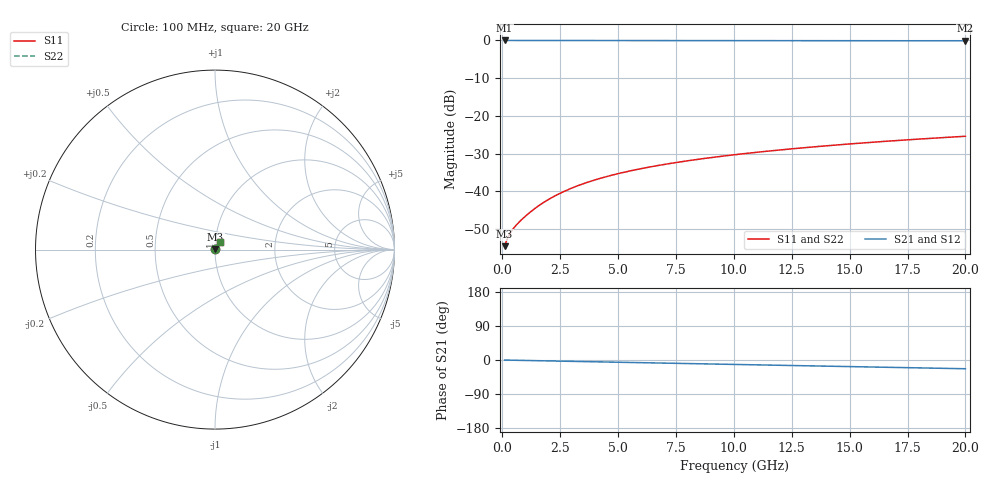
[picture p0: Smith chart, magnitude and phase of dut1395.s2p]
! Touchstone file exported from HFSS 2026.1.0
!  File:  C:/ffzhzh/LocalFiles/Ansys_Project_Files/temp_train_TMRDL_1395_1783166267_18472.aedt
!  Generated:  07:58:51 PM Jul  4, 2026
!  Design:  TMRDL
!  Project:  temp_train_TMRDL_1395_1783166267_18472
! Variables:
!  h_bsmrdl = 2um
!  h_ox = 20um
!  h_rdl = 5um
!  h_sub = 80um
!  h_tmrdl = 4.23um
!  h_tsv = 80um
!  h_via = 3um
!  l_bsmrdl = 300um
!  l_sub = 800.79um
!  l_tmrdl = 400.79um
!  m_sub = 200um
!  pitch = 28.38um
!  r_tsv = 6um
!  s_tmrdl = 10um
!  w_bsmrdl = 18um
!  w_sub = 500um
!  w_tmrdl = 22.05um
!  x_tsv_center1 = 411.815um
!  x_tsv_center2 = 729.815um
!  x_tsv_center3 = 1152.655um
!  x_tsv_center4 = 1470.655um
!  x_tsv_center5 = 1893.495um
!  x_tsv_center6 = 2211.495um
# GHz S MA R 50.000000
! Terminal data exported
! Port[1] = TM_RDL1_1_T1
! Port[2] = TM_RDL1_1_T2
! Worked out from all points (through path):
!   200 points, 100 MHz to 20 GHz, reference 50 ohm
!   highest |S21| = -0.02 dB at 100 MHz (marker M1); lowest = -0.1 dB at 20 GHz (marker M2)
!   group delay of S21, straight-line fit = 3.19 ps
!   lowest |S11| = -54.6 dB at 100 MHz (marker M3), VSWR 1.00, Z = 50.2 + j0.0642 ohm
!   |S11| at or under -10 dB: start of sweep to end of sweep
!   |S22| runs from -54.6 to -25.4 dB; largest |S21 - S12| = 4.2e-15
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0.1  0.001868 20.0  0.9982 -0.1  0.9982 -0.1  0.001868 20.0
! Gamma 0 0 0 0
! Port Impedance 50 0 50 0
0.2  0.002272 30.4  0.998 -0.3  0.998 -0.3  0.002272 30.4
0.3  0.002652 35.6  0.9979 -0.4  0.9979 -0.4  0.002652 35.6
0.4  0.002977 39.1  0.9977 -0.5  0.9977 -0.5  0.002976 39.1
0.5  0.003267 42.1  0.9976 -0.6  0.9976 -0.6  0.003267 42.1
0.7  0.003819 47.5  0.9974 -0.9  0.9974 -0.9  0.003819 47.5
0.9  0.00438 51.9  0.9973 -1.1  0.9973 -1.1  0.00438 51.9
1.3  0.005571 58.3  0.9972 -1.6  0.9972 -1.6  0.005571 58.3
1.8  0.007147 63.0  0.997 -2.2  0.997 -2.2  0.007147 63.0
2.3  0.008757 65.5  0.9967 -2.8  0.9967 -2.8  0.008758 65.5
2.9  0.01068 67.0  0.9964 -3.5  0.9964 -3.5  0.01068 67.0
3.5  0.01258 67.7  0.996 -4.2  0.996 -4.2  0.01258 67.7
4.2  0.01473 67.8  0.9955 -5.0  0.9955 -5.0  0.01473 67.8
5  0.0171 67.5  0.995 -5.9  0.995 -5.9  0.0171 67.5
5.9  0.01967 67.0  0.9944 -7.0  0.9944 -7.0  0.01967 67.0
6.8  0.02214 66.4  0.9938 -8.0  0.9938 -8.0  0.02214 66.4
8.3  0.0261 65.3  0.9929 -9.8  0.9929 -9.8  0.0261 65.3
10.1  0.03065 63.8  0.9919 -11.8  0.9919 -11.8  0.03065 63.8
11.7  0.03457 62.5  0.9911 -13.6  0.9911 -13.6  0.03457 62.5
13.4  0.03862 61.1  0.9903 -15.6  0.9903 -15.6  0.03862 61.1
16.7  0.04624 58.3  0.9889 -19.3  0.9889 -19.3  0.04624 58.3
20  0.05354 55.3  0.9876 -23.1  0.9876 -23.1  0.05354 55.3
